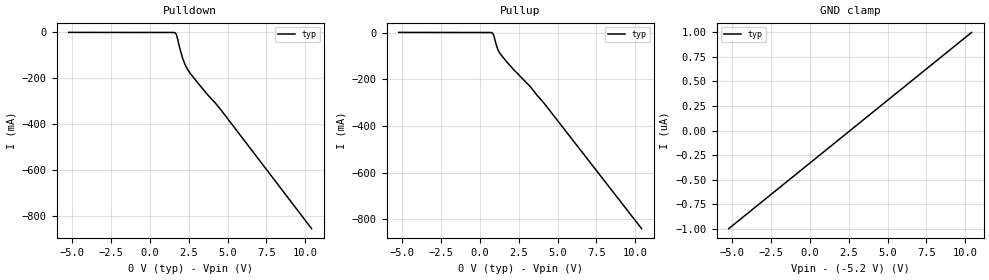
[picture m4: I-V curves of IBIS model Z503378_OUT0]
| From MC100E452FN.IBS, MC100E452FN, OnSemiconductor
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| (C) COPYRIGHT 1993-2000
| MENTOR GRAPHICS CORPORATION
| ICX STANDARD LIBRARY, ICX PROJECT MODELING,
| ICX CUSTOM MODELING, ICX VENDOR MODEL
| ALL RIGHTS RESERVED.
| THE FOLLOWING ARE TRADEMARKS OR SERVICE MARKS OF
| MENTOR GRAPHICS CORPORATION:ICX (R), ICX STANDARD
| LIBRARY(R), ICX PROJECT MODELING(R), ICX CUSTOM
| MODELING(R), qualityIBIS(TM), MODELVIEWER(TM),
| AND MODELEDITOR(TM)
| ALL COPIES OF SOFTWARE, INCLUDING BUT NOT LIMITED TO
| ANY MODIFICATIONS, ENHANCEMENTS OR DERIVATIVE WORKS,
| MUST CONTAIN ALL MENTOR GRAPHICS CORPORATION'S
| NOTICES AND LEGENDS, INCLUDING THOSE EMBEDDED IN
| SOFTWARE AND THOSE AFFIXED TO SOFTWARE MEDIUM
| AND CONTAINER, AS RECEIVED FROM MENTOR GRAPHICS
| CORPORATION.
| Model Application Version 1.89 2/18/99.
[Model] Z503378_OUT0
Model_type Output_ECL
Vref=-2.000V
Rref=50.00ohms
Cref=0.000F
Vmeas=-1.320V
C_comp 8.000pF NA NA
| variable typ   min   max
[Voltage Range] -5.200V NA NA
[POWER Clamp Reference] 0.000V NA NA
[Pullup Reference] 0.000V NA NA
[Pulldown Reference] 0.000V NA NA
[GND Clamp Reference] -5.200V NA NA
[GND Clamp]
-5.2V     -1uA       NA         NA
10.4V     1uA        NA         NA
[Pulldown]
-5.2V     343.9uA    NA         NA
1.66V     -2.624mA   NA         NA
1.763V    -19.19mA   NA         NA
1.944V    -71.23mA   NA         NA
2.119V    -112.7mA   NA         NA
2.251V    -136.7mA   NA         NA
2.423V    -160.6mA   NA         NA
2.622V    -180.2mA   NA         NA
3.755V    -274.7mA   NA         NA
4.57V     -337.6mA   NA         NA
10.4V     -857.5mA   NA         NA
[Pullup]
-5.2V     499.3uA    NA         NA
823.3mV   -2.403mA   NA         NA
927.7mV   -17.64mA   NA         NA
1.065V    -52.57mA   NA         NA
1.166V    -72.26mA   NA         NA
1.378V    -95.93mA   NA         NA
2.168V    -157.6mA   NA         NA
3.266V    -232.7mA   NA         NA
4.091V    -298.7mA   NA         NA
10.4V     -839.2mA   NA         NA
[POWER Clamp]
-5.2V     0A         NA         NA
10.4V     0A         NA         NA
[Ramp]
| variable typ min max
dV/dt_r 453.1m/859.1p NA NA
dV/dt_f 453.1m/681.3p NA NA
R_load = 50.00Ohms
